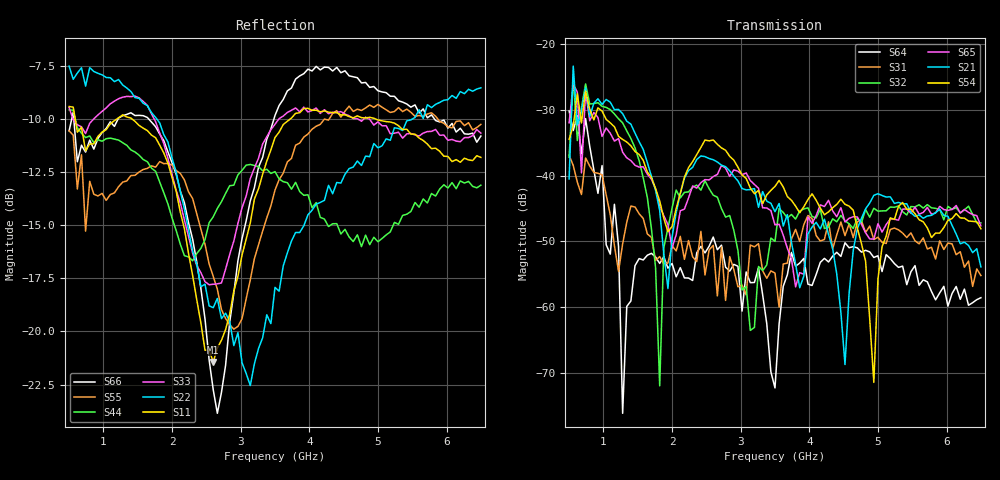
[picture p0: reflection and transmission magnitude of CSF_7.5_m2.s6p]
!Keysight Technologies,M9804A,MY58100912,A.14.10.03
!Date: Thursday, April 27, 2023 10:28:33
!Correction: S11(C  6-Port  )
!S12(C  6-Port  )
!S13(C  6-Port  )
!S14(C  6-Port  )
!S15(C  6-Port  )
!S16(C  6-Port  )
!S21(C  6-Port  )
!S22(C  6-Port  )
!S23(C  6-Port  )
!S24(C  6-Port  )
!S25(C  6-Port  )
!S26(C  6-Port  )
!S31(C  6-Port  )
!S32(C  6-Port  )
!S33(C  6-Port  )
!S34(C  6-Port  )
!S35(C  6-Port  )
!S36(C  6-Port  )
!S41(C  6-Port  )
!S42(C  6-Port  )
!S43(C  6-Port  )
!S44(C  6-Port  )
!S45(C  6-Port  )
!S46(C  6-Port  )
!S51(C  6-Port  )
!S52(C  6-Port  )
!S53(C  6-Port  )
!S54(C  6-Port  )
!S55(C  6-Port  )
!S56(C  6-Port  )
!S61(C  6-Port  )
!S62(C  6-Port  )
!S63(C  6-Port  )
!S64(C  6-Port  )
!S65(C  6-Port  )
!S66(C  6-Port  )
!S6P File: Measurement: :
# Hz S  RI  R 50
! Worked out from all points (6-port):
!   101 points, 500 MHz to 6.5 GHz, reference 50 ohm
!   strongest paths, dB at 500 MHz, 2 GHz, 3.5 GHz, 5 GHz, 6.5 GHz:
!     S54: -34.5, -47.7, -41.6, -55.7, -48.1
!     S21: -40.5, -49.4, -45.5, -42.7, -53.9
!     S65: -31.9, -51.0, -47.5, -47.3, -47.6
!     S32: -37.2, -44.9, -50.0, -45.4, -47.2
!     S31: -36.9, -50.7, -54.8, -49.4, -55.2
!     S64: -30.1, -53.4, -72.3, -52.2, -58.6
!   lowest |S11| = -21.4 dB at 2.6 GHz (marker M1), VSWR 1.19, Z = 42.5 + j2.22 ohm
!   |S11| at or under -10 dB: 589 MHz to 1.19 GHz (600.8 MHz wide, 67.6 % of centre); 1.422 GHz to 3.717 GHz (2.295 GHz wide, 89.3 % of centre); 4.975 GHz to end of sweep
